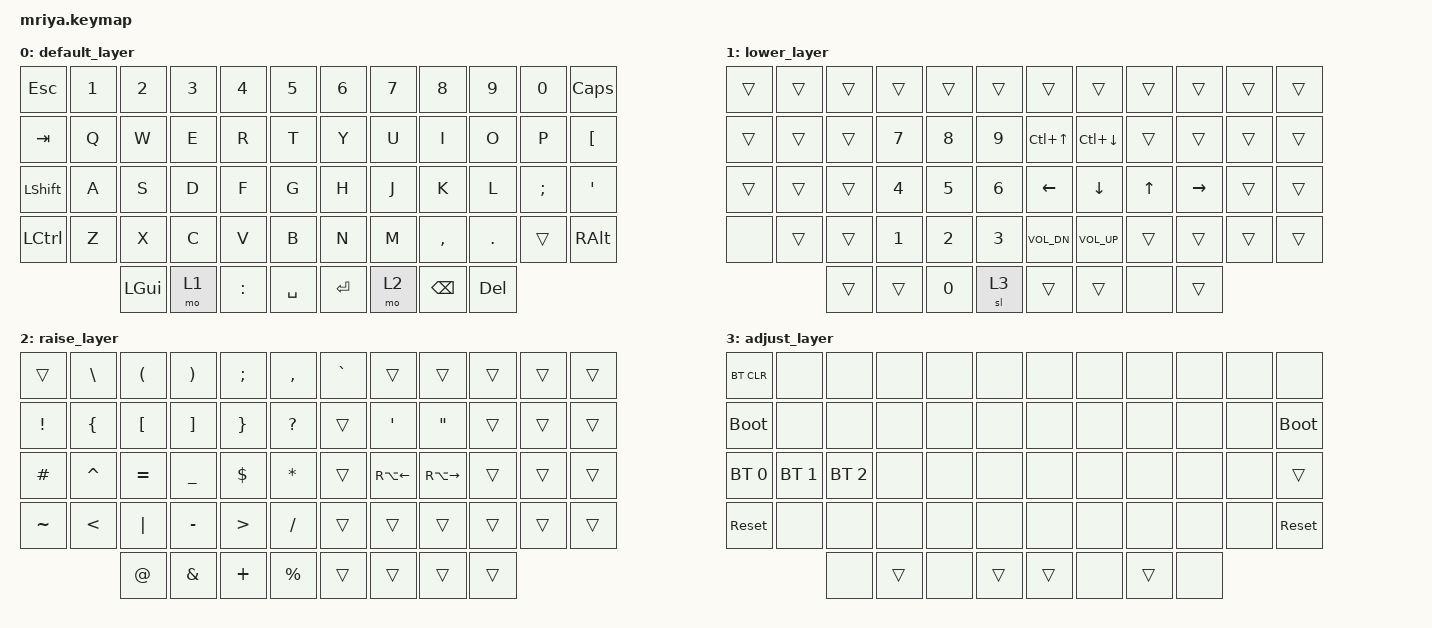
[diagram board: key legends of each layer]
/*
 * Copyright (c) 2023 Andrei Gaevskii
 *
 * SPDX-License-Identifier: MIT
 */

#include <behaviors.dtsi>
#include <dt-bindings/zmk/bt.h>
#include <dt-bindings/zmk/keys.h>

#define DEF 0
#define LWR 1
#define RSE 2
#define ADJ 3

&lt { quick_tap_ms = <200>; };

&mt { quick_tap_ms = <200>; };

/ {
    keymap {
        compatible = "zmk,keymap";

        default_layer {
            bindings = <
  &kp ESCAPE      &kp N1  &kp N2    &kp N3  &kp N4     &kp N5       &kp N6     &kp N7  &kp N8         &kp N9      &kp N0    &kp CAPSLOCK
  &kp TAB         &kp Q   &kp W     &kp E   &kp R      &kp T        &kp Y      &kp U   &kp I          &kp O       &kp P     &kp LEFT_BRACKET
  &kp LEFT_SHIFT  &kp A   &kp S     &kp D   &kp F      &kp G        &kp H      &kp J   &kp K          &kp L       &kp SEMI  &kp SINGLE_QUOTE
  &kp LCTRL       &kp Z   &kp X     &kp C   &kp V      &kp B        &kp N      &kp M   &kp COMMA      &kp DOT     &trans    &kp RALT
                          &kp LGUI  &mo 1   &kp COLON  &kp SPACE    &kp ENTER  &mo 2   &kp BACKSPACE  &kp DELETE
            >;
        };

        lower_layer {
            bindings = <
  &trans  &trans  &trans  &trans        &trans        &trans          &trans        &trans           &trans  &trans     &trans  &trans
  &trans  &trans  &trans  &kp NUMBER_7  &kp NUMBER_8  &kp NUMBER_9    &kp LC(UP)    &kp LC(DOWN)     &trans  &trans     &trans  &trans
  &trans  &trans  &trans  &kp NUMBER_4  &kp NUMBER_5  &kp NUMBER_6    &kp LEFT      &kp DOWN         &kp UP  &kp RIGHT  &trans  &trans
  &none   &trans  &trans  &kp NUMBER_1  &kp NUMBER_2  &kp NUMBER_3    &kp C_VOL_DN  &kp C_VOLUME_UP  &trans  &trans     &trans  &trans
                  &trans  &trans        &kp NUMBER_0  &sl 3           &trans        &trans           &none   &trans
            >;
        };

        raise_layer {
            bindings = <
  &trans           &kp BACKSLASH   &kp LEFT_PARENTHESIS  &kp RIGHT_PARENTHESIS  &kp SEMICOLON     &kp COMMA       &kp GRAVE  &trans              &trans               &trans  &trans  &trans
  &kp EXCLAMATION  &kp LEFT_BRACE  &kp LEFT_BRACKET      &kp RIGHT_BRACKET      &kp RIGHT_BRACE   &kp QUESTION    &trans     &kp SINGLE_QUOTE    &kp DOUBLE_QUOTES    &trans  &trans  &trans
  &kp HASH         &kp CARET       &kp EQUAL             &kp UNDERSCORE         &kp DOLLAR        &kp STAR        &trans     &kp RA(LEFT_ARROW)  &kp RA(RIGHT_ARROW)  &trans  &trans  &trans
  &kp TILDE        &kp LESS_THAN   &kp PIPE              &kp MINUS              &kp GREATER_THAN  &kp SLASH       &trans     &trans              &trans               &trans  &trans  &trans
                                   &kp AT_SIGN           &kp AMPERSAND          &kp PLUS          &kp PERCENT     &trans     &trans              &trans               &trans
            >;
        };

        adjust_layer {
            bindings = <
  &bt BT_CLR    &none         &none         &none   &none  &none     &none   &none  &none   &none  &none  &none
  &bootloader   &none         &none         &none   &none  &none     &none   &none  &none   &none  &none  &bootloader
  &bt BT_SEL 0  &bt BT_SEL 1  &bt BT_SEL 2  &none   &none  &none     &none   &none  &none   &none  &none  &trans
  &sys_reset    &none         &none         &none   &none  &none     &none   &none  &none   &none  &none  &sys_reset
                              &none         &trans  &none  &trans    &trans  &none  &trans  &none
            >;
        };
    };
};
